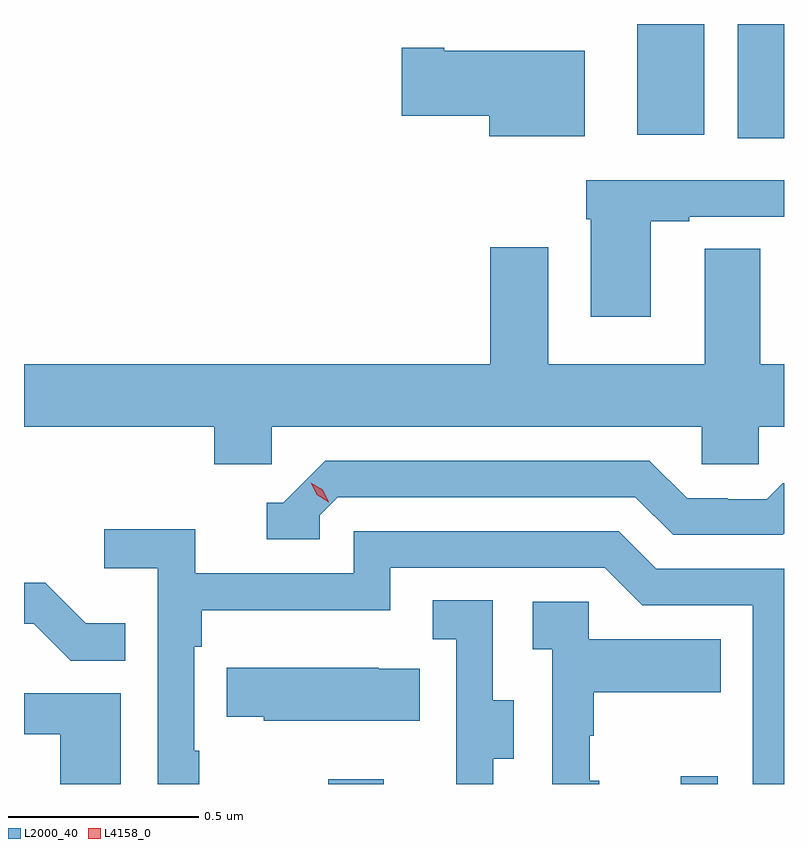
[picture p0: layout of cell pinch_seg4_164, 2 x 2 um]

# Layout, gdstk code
import gdstk
lib = gdstk.Library(unit=1e-6, precision=1e-09)
def R(c, l, rs):  # rectangles x0, y0, x1, y1
    for r in rs: c.add(gdstk.rectangle(r[:2], r[2:], *l))
def P(c, l, *ps):  # polygons
    for p in ps: c.add(gdstk.Polygon(p, *l))
L2000_40 = (2000, 40)
L4158_0 = (4158, 0)

pinch_seg4_164 = lib.new_cell('pinch_seg4_164')
R(pinch_seg4_164, L2000_40, [(1129.528,795.88,1129.675,795.892), (1130.456,795.88,1130.553,795.901), (1130.606,797.58,1130.728,797.88), (1130.342,797.588,1130.518,797.88)])
P(pinch_seg4_164, L2000_40, [(1130.203,797.809),(1129.834,797.809),(1129.834,797.817),(1129.722,797.817),(1129.722,797.639),(1129.952,797.639),(1129.952,797.585),(1130.203,797.585)],
  [(1130.377,797.361),(1130.479,797.361),(1130.479,797.373),(1130.728,797.373),(1130.728,797.469),(1130.207,797.469),(1130.207,797.366),(1130.219,797.366),(1130.219,797.109),(1130.377,797.109)],
  [(1129.38,796.82),(1130.511,796.82),(1130.511,796.722),(1130.661,796.722),(1130.661,796.82),(1130.728,796.82),(1130.728,796.984),(1130.666,796.984),(1130.666,797.288),(1130.519,797.288),(1130.519,796.984),(1130.107,796.984),(1130.107,797.293),(1129.955,797.293),(1129.955,796.984),(1128.728,796.984),(1128.728,796.82),(1129.229,796.82),(1129.229,796.722),(1129.38,796.722)],
  [(1129.506,796.587),(1129.554,796.635),(1130.337,796.635),(1130.436,796.536),(1130.725,796.536),(1130.728,796.539),(1130.728,796.672),(1130.725,796.672),(1130.683,796.629),(1130.58,796.629),(1130.58,796.632),(1130.473,796.632),(1130.374,796.731),(1129.521,796.731),(1129.41,796.62),(1129.367,796.62),(1129.367,796.524),(1129.506,796.524)],
  [(1129.189,795.968),(1129.176,795.968),(1129.176,796.241),(1129.196,796.241),(1129.196,796.337),(1129.692,796.337),(1129.692,796.449),(1130.256,796.449),(1130.355,796.35),(1130.646,796.35),(1130.646,795.88),(1130.728,795.88),(1130.728,796.446),(1130.392,796.446),(1130.293,796.545),(1129.596,796.545),(1129.596,796.434),(1129.178,796.434),(1129.178,796.55),(1128.939,796.55),(1128.939,796.448),(1129.08,796.448),(1129.08,795.88),(1129.189,795.88)],
  [(1128.995,796.303),(1128.891,796.303),(1128.784,796.41),(1128.728,796.41),(1128.728,796.302),(1128.753,796.302),(1128.851,796.204),(1128.995,796.204)],
  [(1129.963,795.946),(1130.017,795.946),(1130.017,796.101),(1129.962,796.101),(1129.962,796.364),(1129.803,796.364),(1129.803,796.261),(1129.866,796.261),(1129.866,795.957),(1129.865,795.957),(1129.865,795.88),(1129.963,795.88)],
  [(1130.242,795.888),(1130.217,795.888),(1130.217,796.007),(1130.227,796.007),(1130.227,796.121),(1130.561,796.121),(1130.561,796.261),(1130.214,796.261),(1130.214,796.359),(1130.067,796.359),(1130.067,796.235),(1130.118,796.235),(1130.118,795.88),(1130.242,795.88)],
  [(1129.769,796.183),(1129.661,796.183),(1129.661,796.186),(1129.261,796.186),(1129.261,796.057),(1129.359,796.057),(1129.359,796.046),(1129.769,796.046)],
  [(1128.982,796.119),(1128.728,796.119),(1128.728,796.011),(1128.824,796.011),(1128.824,795.88),(1128.982,795.88)])
P(pinch_seg4_164, L4158_0, [(1129.53,796.621),(1129.499,796.641),(1129.483,796.673),(1129.483,796.673),(1129.483,796.673),(1129.514,796.654),(1129.53,796.622),(1129.53,796.621)])

lib.write_gds('pinch_seg4_164.gds')
